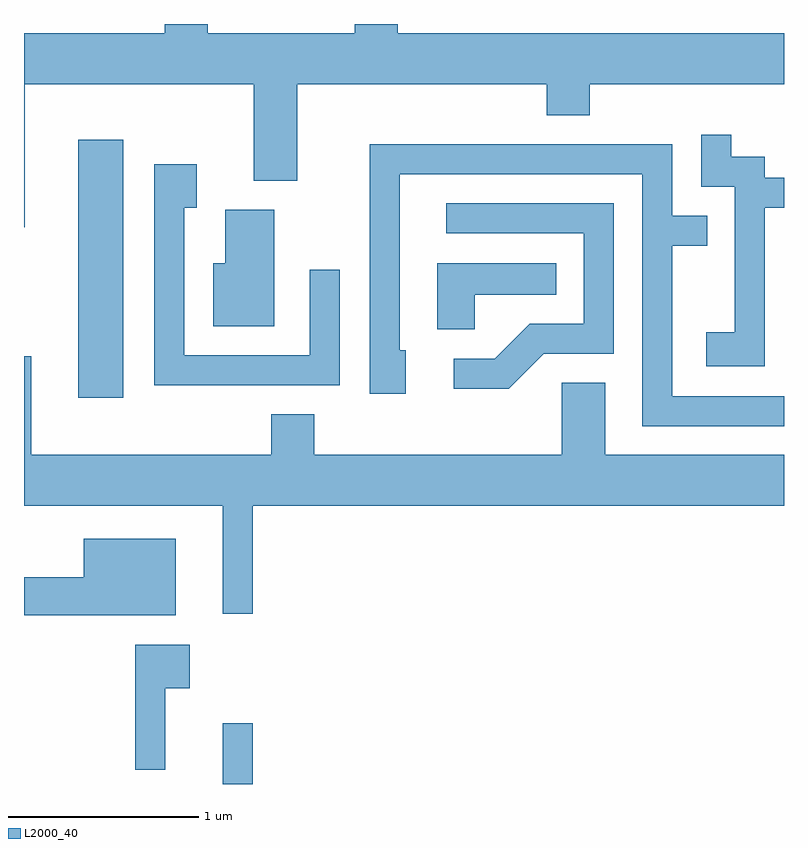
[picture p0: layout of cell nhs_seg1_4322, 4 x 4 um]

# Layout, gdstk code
import gdstk
lib = gdstk.Library(unit=1e-6, precision=1e-09)
def R(c, l, rs):  # rectangles x0, y0, x1, y1
    for r in rs: c.add(gdstk.rectangle(r[:2], r[2:], *l))
def P(c, l, *ps):  # polygons
    for p in ps: c.add(gdstk.Polygon(p, *l))
L2000_40 = (2000, 40)

nhs_seg1_4322 = lib.new_cell('nhs_seg1_4322')
R(nhs_seg1_4322, L2000_40, [(316.656,853.712,316.814,854.033), (315.896,855.746,316.134,857.104)])
P(nhs_seg1_4322, L2000_40, [(315.614,857.396),(316.821,857.396),(316.821,856.886),(317.049,856.886),(317.049,857.396),(318.361,857.396),(318.361,857.231),(318.589,857.231),(318.589,857.396),(319.611,857.396),(319.611,857.664),(317.579,857.664),(317.579,857.712),(317.351,857.712),(317.351,857.664),(316.579,857.664),(316.579,857.712),(316.351,857.712),(316.351,857.664),(315.611,857.664),(315.611,856.643),(315.614,856.643)],
  [(319.509,856.746),(319.611,856.746),(319.611,856.904),(319.509,856.904),(319.509,857.014),(319.334,857.014),(319.334,857.128),(319.176,857.128),(319.176,856.856),(319.351,856.856),(319.351,856.089),(319.201,856.089),(319.201,855.911),(319.509,855.911)],
  [(319.611,855.754),(319.024,855.754),(319.024,856.546),(319.208,856.546),(319.208,856.704),(319.024,856.704),(319.024,857.079),(317.431,857.079),(317.431,855.766),(317.619,855.766),(317.619,855.994),(317.589,855.994),(317.589,856.921),(318.866,856.921),(318.866,855.596),(319.611,855.596)],
  [(317.274,856.418),(317.116,856.418),(317.116,855.969),(316.454,855.969),(316.454,856.746),(316.519,856.746),(316.519,856.974),(316.296,856.974),(316.296,855.811),(317.274,855.811)],
  [(318.347,855.976),(318.714,855.976),(318.714,856.769),(317.833,856.769),(317.833,856.611),(318.556,856.611),(318.556,856.134),(318.274,856.134),(318.089,855.949),(317.873,855.949),(317.873,855.791),(318.162,855.791)],
  [(316.929,856.734),(316.671,856.734),(316.671,856.454),(316.606,856.454),(316.606,856.121),(316.929,856.121)],
  [(317.984,856.286),(318.413,856.286),(318.413,856.454),(317.786,856.454),(317.786,856.106),(317.984,856.106)],
  [(316.814,855.176),(319.611,855.176),(319.611,855.444),(318.669,855.444),(318.669,855.824),(318.441,855.824),(318.441,855.444),(317.139,855.444),(317.139,855.659),(316.911,855.659),(316.911,855.444),(315.649,855.444),(315.649,855.964),(315.611,855.964),(315.611,855.176),(316.656,855.176),(316.656,854.608),(316.814,854.608)],
  [(316.409,855.004),(315.926,855.004),(315.926,854.799),(315.611,854.799),(315.611,854.601),(316.409,854.601)],
  [(316.354,854.216),(316.484,854.216),(316.484,854.444),(316.196,854.444),(316.196,853.788),(316.354,853.788)])

lib.write_gds('nhs_seg1_4322.gds')
